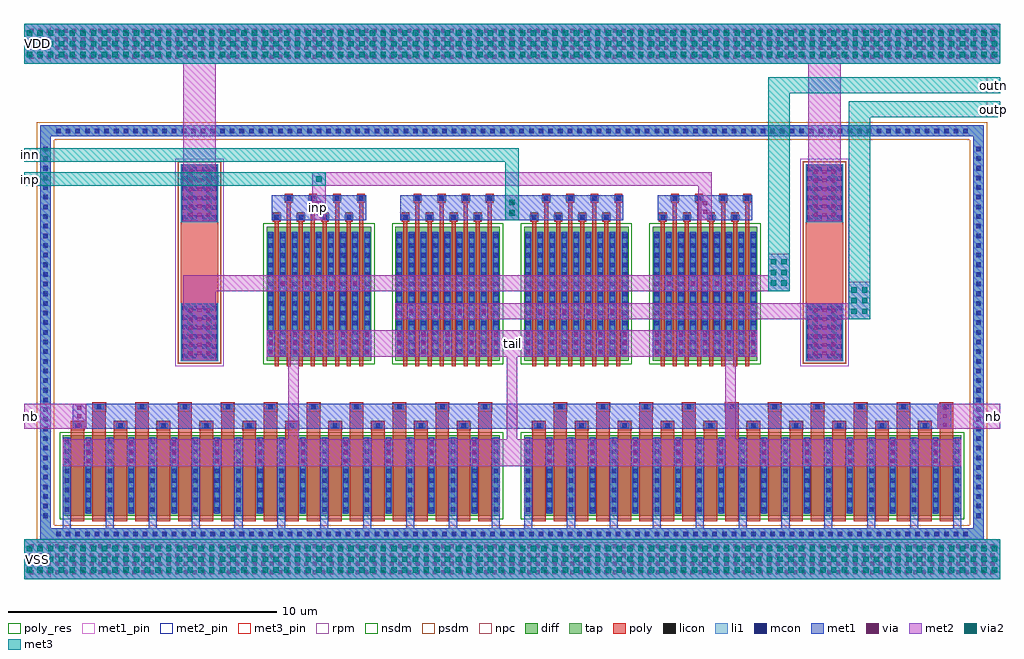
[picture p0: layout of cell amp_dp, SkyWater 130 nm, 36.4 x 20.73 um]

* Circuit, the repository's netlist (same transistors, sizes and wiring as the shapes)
* amp_dp: xschem/amp_dp.sch with {'w': 80, 'l': 0.15, 'rl': 1000.0, 'wt': 6, 'mt': 20, 'mm': 0} (lay.write_ref)
** sch_path: /foss/designs/ook/xschem/amp_dp.sch
.subckt amp_dp inp inn nb outp outn VDD VSS
*.PININFO VDD:B VSS:B nb:B inp:B inn:B outp:B outn:B
XRl_p outn VDD VSS sky130_fd_pr__res_high_po_1p41 L=3.13504 mult=1
XMp outn inp tail VSS sky130_fd_pr__nfet_01v8 L=0.15 W=80 nf=4
XRl_n outp VDD VSS sky130_fd_pr__res_high_po_1p41 L=3.13504 mult=1
XMn outp inn tail VSS sky130_fd_pr__nfet_01v8 L=0.15 W=80 nf=4
XMtail tail nb VSS VSS sky130_fd_pr__nfet_01v8 L=0.5 W=6 nf=2 m=20
.ends

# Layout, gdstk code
import gdstk
lib = gdstk.Library(unit=1e-6, precision=1e-09)
def R(c, l, rs):  # rectangles x0, y0, x1, y1
    for r in rs: c.add(gdstk.rectangle(r[:2], r[2:], *l))
def A(c, l, x, y, w, h, nx, ny, dx, dy):  # array of equal rectangles
    R(c, l, [(x+i*dx, y+j*dy, x+i*dx+w, y+j*dy+h) for i in range(nx) for j in range(ny)])
def P(c, l, *ps):  # polygons
    for p in ps: c.add(gdstk.Polygon(p, *l))
diff = (65, 20)
tap = (65, 44)
poly_res = (66, 13)
poly = (66, 20)
licon = (66, 44)
li1 = (67, 20)
mcon = (67, 44)
met1_pin = (68, 16)
met1 = (68, 20)
via = (68, 44)
met2_pin = (69, 16)
met2 = (69, 20)
via2 = (69, 44)
met3_pin = (70, 16)
met3 = (70, 20)
rpm = (86, 20)
nsdm = (93, 44)
psdm = (94, 20)
npc = (95, 20)

nfet = lib.new_cell('nfet')
R(nfet, diff, [(0,0,16.3,3)])
A(nfet, poly, 0.3, -0.2, 0.5, 3.4, 10, 1, 1.6, 0)
A(nfet, poly, 1.1, -0.2, 0.5, 4.1, 10, 1, 1.6, 0)
A(nfet, poly, 0.3, 3.2, 0.5, 0.33, 10, 1, 1.6, 0)
A(nfet, poly, 1.1, 3.9, 0.5, 0.33, 10, 1, 1.6, 0)
A(nfet, licon, 0.065, 0.155, 0.17, 0.17, 21, 8, 0.8, 0.36)
A(nfet, licon, 0.465, 3.28, 0.17, 0.17, 10, 1, 1.6, 0)
A(nfet, licon, 1.265, 3.98, 0.17, 0.17, 10, 1, 1.6, 0)
A(nfet, li1, 0.065, 0.075, 0.17, 2.85, 21, 1, 0.8, 0)
A(nfet, li1, 0.385, 3.28, 0.33, 0.17, 10, 1, 1.6, 0)
A(nfet, li1, 1.185, 3.98, 0.33, 0.17, 10, 1, 1.6, 0)
A(nfet, mcon, 0.065, 0.155, 0.17, 0.17, 21, 8, 0.8, 0.36)
A(nfet, mcon, 0.465, 3.28, 0.17, 0.17, 10, 1, 1.6, 0)
A(nfet, mcon, 1.265, 3.98, 0.17, 0.17, 10, 1, 1.6, 0)
A(nfet, met1, 0.035, 0.095, 0.23, 2.81, 21, 1, 0.8, 0)
A(nfet, met1, 0.365, 3.25, 0.37, 0.23, 10, 1, 1.6, 0)
A(nfet, met1, 1.165, 3.95, 0.37, 0.23, 10, 1, 1.6, 0)
R(nfet, nsdm, [(-0.125,-0.125,16.425,3.125)])
A(nfet, npc, 0.29, 3.19, 0.52, 0.35, 10, 1, 1.6, 0)
A(nfet, npc, 1.09, 3.89, 0.52, 0.35, 10, 1, 1.6, 0)

nfet_1 = lib.new_cell('nfet$1')
R(nfet_1, diff, [(0,0,3.9,5)])
A(nfet_1, poly, 0.3, -0.2, 0.15, 5.4, 3, 1, 0.9, 0)
A(nfet_1, poly, 0.75, -0.2, 0.15, 6.1, 3, 1, 0.9, 0)
A(nfet_1, poly, 0.24, 5.2, 0.27, 0.33, 3, 1, 0.9, 0)
A(nfet_1, poly, 0.69, 5.9, 0.27, 0.33, 3, 1, 0.9, 0)
R(nfet_1, poly, [(2.995,-0.2,3.145,5.2), (3.445,-0.2,3.595,5.9), (2.935,5.2,3.205,5.53), (3.385,5.9,3.655,6.23)])
A(nfet_1, licon, 0.065, 0.255, 0.17, 0.17, 4, 13, 0.45, 0.36)
A(nfet_1, licon, 1.86, 0.255, 0.17, 0.17, 4, 13, 0.45, 0.36)
A(nfet_1, licon, 3.665, 0.255, 0.17, 0.17, 1, 13, 0, 0.36)
A(nfet_1, licon, 0.29, 5.28, 0.17, 0.17, 3, 1, 0.9, 0)
A(nfet_1, licon, 0.74, 5.98, 0.17, 0.17, 3, 1, 0.9, 0)
R(nfet_1, licon, [(2.985,5.28,3.155,5.45), (3.435,5.98,3.605,6.15)])
A(nfet_1, li1, 0.065, 0.175, 0.17, 4.65, 4, 1, 0.45, 0)
A(nfet_1, li1, 1.86, 0.175, 0.17, 4.65, 4, 1, 0.45, 0)
A(nfet_1, li1, 0.21, 5.28, 0.33, 0.17, 3, 1, 0.9, 0)
A(nfet_1, li1, 0.66, 5.98, 0.33, 0.17, 3, 1, 0.9, 0)
R(nfet_1, li1, [(3.665,0.175,3.835,4.825), (2.905,5.28,3.235,5.45), (3.355,5.98,3.685,6.15)])
A(nfet_1, mcon, 0.065, 0.255, 0.17, 0.17, 4, 13, 0.45, 0.36)
A(nfet_1, mcon, 1.86, 0.255, 0.17, 0.17, 4, 13, 0.45, 0.36)
A(nfet_1, mcon, 3.665, 0.255, 0.17, 0.17, 1, 13, 0, 0.36)
A(nfet_1, mcon, 0.29, 5.28, 0.17, 0.17, 3, 1, 0.9, 0)
A(nfet_1, mcon, 0.74, 5.98, 0.17, 0.17, 3, 1, 0.9, 0)
R(nfet_1, mcon, [(2.985,5.28,3.155,5.45), (3.435,5.98,3.605,6.15)])
A(nfet_1, met1, 0.035, 0.195, 0.23, 4.61, 4, 1, 0.45, 0)
A(nfet_1, met1, 1.83, 0.195, 0.23, 4.61, 4, 1, 0.45, 0)
A(nfet_1, met1, 1.09, 5.25, 0.365, 0.23, 3, 1, 0.9, 0)
A(nfet_1, met1, 1.54, 5.95, 0.365, 0.23, 3, 1, 0.9, 0)
R(nfet_1, met1, [(3.635,0.195,3.865,4.805), (0.19,5.25,0.56,5.48), (0.64,5.95,1.01,6.18)])
R(nfet_1, nsdm, [(-0.125,-0.125,4.025,5.125)])
A(nfet_1, npc, 0.23, 5.19, 0.29, 0.35, 3, 1, 0.9, 0)
A(nfet_1, npc, 0.68, 5.89, 0.29, 0.35, 3, 1, 0.9, 0)
R(nfet_1, npc, [(2.925,5.19,3.215,5.54), (3.375,5.89,3.665,6.24)])

res_poly = lib.new_cell('res_poly')
R(res_poly, poly_res, [(-0.705,-1.57,0.705,1.57)])
R(res_poly, poly, [(-0.705,-3.67,0.705,3.67)])
R(res_poly, licon, [(-0.45,-3.59,-0.26,-1.59), (0.26,-3.59,0.45,-1.59), (-0.45,1.59,-0.26,3.59), (0.26,1.59,0.45,3.59)])
R(res_poly, li1, [(-0.705,-3.67,0.705,-1.51), (-0.705,1.51,0.705,3.67)])
A(res_poly, mcon, -0.625, -3.57, 0.17, 0.17, 4, 6, 0.36, 0.36)
A(res_poly, mcon, -0.625, 1.605, 0.17, 0.17, 4, 6, 0.36, 0.36)
R(res_poly, met1, [(-0.655,-3.635,0.655,-1.535), (-0.655,1.535,0.655,3.635)])
R(res_poly, rpm, [(-0.905,-3.865,0.905,3.865)])
R(res_poly, psdm, [(-0.815,-3.78,0.815,3.78)])
R(res_poly, npc, [(-0.8,-3.76,0.8,3.76)])

amp_dp = lib.new_cell('amp_dp')
P(amp_dp, tap, [(0.6,1.5),(0.6,16.53),(1,16.53),(1,1.9),(35.4,1.9),(35.4,16.53),(0.6,16.53),(0.6,16.93),(35.8,16.93),(35.8,1.5)])
A(amp_dp, licon, 1.195, 1.615, 0.17, 0.17, 95, 2, 0.36, 15.03)
A(amp_dp, licon, 0.715, 2.29, 0.17, 0.17, 1, 39, 0, 0.36)
A(amp_dp, licon, 35.515, 2.29, 0.17, 0.17, 1, 39, 0, 0.36)
P(amp_dp, li1, [(0.6,1.5),(0.6,16.53),(1,16.53),(1,1.9),(35.4,1.9),(35.4,16.53),(0.6,16.53),(0.6,16.93),(35.8,16.93),(35.8,1.5)])
A(amp_dp, mcon, 1.195, 1.615, 0.17, 0.17, 95, 2, 0.36, 15.03)
A(amp_dp, mcon, 0.715, 2.29, 0.17, 0.17, 1, 39, 0, 0.36)
A(amp_dp, mcon, 35.515, 2.29, 0.17, 0.17, 1, 39, 0, 0.36)
R(amp_dp, met1_pin, [(0,0,1,1.5), (0,19.23,1,20.73)])
A(amp_dp, met1, 1.45, 1.89, 0.3, 3.385, 11, 1, 1.6, 0)
A(amp_dp, met1, 18.65, 1.89, 0.3, 3.385, 11, 1, 1.6, 0)
A(amp_dp, met1, 2.25, 4.22, 0.3, 1, 10, 1, 1.6, 0)
A(amp_dp, met1, 19.45, 4.22, 0.3, 1, 10, 1, 1.6, 0)
R(amp_dp, met1, [(0,0,36.4,1.5), (0.6,1.49,35.8,1.9), (1.815,5.62,34.585,6.55), (5.945,8.18,7.145,10.28), (29.255,8.18,30.455,10.28), (9.05,8.3,9.35,9.3), (9.95,8.3,10.25,9.3), (10.845,8.3,11.145,9.3), (11.745,8.3,12.045,9.3), (12.65,8.3,12.95,9.3), (13.85,8.3,14.15,9.3), (14.75,8.3,15.05,9.3), (15.645,8.3,15.945,9.3), (16.545,8.3,16.845,9.3), (17.45,8.3,17.75,9.3), (18.65,8.3,18.95,9.3), (19.55,8.3,19.85,9.3), (20.445,8.3,20.745,9.3), (21.345,8.3,21.645,9.3), (22.25,8.3,22.55,9.3), (23.45,8.3,23.75,9.3), (24.35,8.3,24.65,9.3), (25.245,8.3,25.545,9.3), (26.145,8.3,26.445,9.3), (27.05,8.3,27.35,9.3), (14.3,9.7,14.6,10.3), (15.2,9.7,15.5,10.3), (16.095,9.7,16.395,10.3), (16.995,9.7,17.295,10.3), (19.1,9.7,19.4,10.3), (20,9.7,20.3,10.3), (20.895,9.7,21.195,10.3), (21.795,9.7,22.095,10.3), (9.5,10.75,9.8,11.35), (10.4,10.75,10.7,11.35), (11.295,10.75,11.595,11.35), (12.195,10.75,12.495,11.35), (23.9,10.75,24.2,11.35), (24.8,10.75,25.1,11.35), (25.695,10.75,25.995,11.35), (26.595,10.75,26.895,11.35), (5.945,13.35,7.145,15.45), (29.255,13.35,30.455,15.45), (9.24,13.4,12.755,14.33), (14.04,13.4,22.355,14.33), (23.64,13.4,27.155,14.33), (0,19.23,36.4,20.73)])
P(amp_dp, met1, [(0.6,1.5),(0.6,16.53),(1,16.53),(1,1.9),(35.4,1.9),(35.4,16.53),(0.6,16.53),(0.6,16.93),(35.8,16.93),(35.8,1.5)])
A(amp_dp, via, 0.205, 0.195, 0.15, 0.15, 113, 4, 0.32, 0.32)
A(amp_dp, via, 2.325, 4.325, 0.15, 0.15, 10, 3, 1.6, 0.32)
A(amp_dp, via, 19.525, 4.325, 0.15, 0.15, 10, 3, 1.6, 0.32)
A(amp_dp, via, 1.99, 5.69, 0.15, 0.15, 1, 3, 0, 0.32)
A(amp_dp, via, 34.26, 5.69, 0.15, 0.15, 1, 3, 0, 0.32)
A(amp_dp, via, 6.15, 8.355, 0.15, 0.15, 3, 6, 0.32, 0.32)
A(amp_dp, via, 29.46, 8.355, 0.15, 0.15, 3, 6, 0.32, 0.32)
A(amp_dp, via, 9.125, 8.405, 0.15, 0.15, 1, 3, 0, 0.32)
A(amp_dp, via, 10.025, 8.405, 0.15, 0.15, 1, 3, 0, 0.32)
A(amp_dp, via, 10.92, 8.405, 0.15, 0.15, 1, 3, 0, 0.32)
A(amp_dp, via, 11.82, 8.405, 0.15, 0.15, 1, 3, 0, 0.32)
A(amp_dp, via, 12.725, 8.405, 0.15, 0.15, 1, 3, 0, 0.32)
A(amp_dp, via, 13.925, 8.405, 0.15, 0.15, 1, 3, 0, 0.32)
A(amp_dp, via, 14.825, 8.405, 0.15, 0.15, 1, 3, 0, 0.32)
A(amp_dp, via, 15.72, 8.405, 0.15, 0.15, 1, 3, 0, 0.32)
A(amp_dp, via, 16.62, 8.405, 0.15, 0.15, 1, 3, 0, 0.32)
A(amp_dp, via, 17.525, 8.405, 0.15, 0.15, 1, 3, 0, 0.32)
A(amp_dp, via, 18.725, 8.405, 0.15, 0.15, 1, 3, 0, 0.32)
A(amp_dp, via, 19.625, 8.405, 0.15, 0.15, 1, 3, 0, 0.32)
A(amp_dp, via, 20.52, 8.405, 0.15, 0.15, 1, 3, 0, 0.32)
A(amp_dp, via, 21.42, 8.405, 0.15, 0.15, 1, 3, 0, 0.32)
A(amp_dp, via, 22.325, 8.405, 0.15, 0.15, 1, 3, 0, 0.32)
A(amp_dp, via, 23.525, 8.405, 0.15, 0.15, 1, 3, 0, 0.32)
A(amp_dp, via, 24.425, 8.405, 0.15, 0.15, 1, 3, 0, 0.32)
A(amp_dp, via, 25.32, 8.405, 0.15, 0.15, 1, 3, 0, 0.32)
A(amp_dp, via, 26.22, 8.405, 0.15, 0.15, 1, 3, 0, 0.32)
A(amp_dp, via, 27.125, 8.405, 0.15, 0.15, 1, 3, 0, 0.32)
A(amp_dp, via, 6.15, 13.525, 0.15, 0.15, 3, 6, 0.32, 0.32)
A(amp_dp, via, 29.46, 13.525, 0.15, 0.15, 3, 6, 0.32, 0.32)
A(amp_dp, via, 0.205, 19.425, 0.15, 0.15, 113, 4, 0.32, 0.32)
R(amp_dp, via, [(14.375,9.925,14.525,10.075), (15.275,9.925,15.425,10.075), (16.17,9.925,16.32,10.075), (17.07,9.925,17.22,10.075), (19.175,9.925,19.325,10.075), (20.075,9.925,20.225,10.075), (20.97,9.925,21.12,10.075), (21.87,9.925,22.02,10.075), (9.575,10.975,9.725,11.125), (10.475,10.975,10.625,11.125), (11.37,10.975,11.52,11.125), (12.27,10.975,12.42,11.125), (23.975,10.975,24.125,11.125), (24.875,10.975,25.025,11.125), (25.77,10.975,25.92,11.125), (26.67,10.975,26.82,11.125), (10.925,13.63,11.075,13.78), (18.12,13.63,18.27,13.78), (25.325,13.63,25.475,13.78), (10.925,13.95,11.075,14.1), (18.12,13.95,18.27,14.1), (25.325,13.95,25.475,14.1)])
R(amp_dp, met2_pin, [(0,5.62,0.5,6.55), (35.9,5.62,36.4,6.55)])
A(amp_dp, met2, 9.85, 4.22, 0.4, 5.08, 3, 1, 8.15, 0)
R(amp_dp, met2, [(0,0,36.4,1.5), (1.45,4.22,34.95,5.22), (0,5.62,2.315,6.55), (34.085,5.62,36.4,6.55), (5.945,8.18,7.145,11.35), (29.255,8.18,30.455,10.3), (9.05,8.3,27.35,9.3), (13.85,9.7,30.455,10.3), (29.255,9.7,31.555,10.3), (30.755,9.7,31.555,11.1), (5.945,10.75,27.35,11.35), (27.35,10.75,28.55,11.35), (27.75,10.75,28.55,12.15), (5.945,13.35,7.145,19.24), (29.255,13.35,30.455,19.24), (10.75,13.4,11.25,15.18), (17.945,13.4,18.445,14.33), (25.15,13.4,25.65,15.18), (10.75,14.68,25.65,15.18), (0,19.23,36.4,20.73)])
A(amp_dp, via2, 0.1, 0.25, 0.2, 0.2, 91, 3, 0.4, 0.4)
A(amp_dp, via2, 30.855, 9.9, 0.2, 0.2, 1, 3, 0, 0.4)
A(amp_dp, via2, 31.255, 9.9, 0.2, 0.2, 1, 3, 0, 0.4)
A(amp_dp, via2, 27.85, 10.95, 0.2, 0.2, 1, 3, 0, 0.4)
A(amp_dp, via2, 28.25, 10.95, 0.2, 0.2, 1, 3, 0, 0.4)
A(amp_dp, via2, 0.1, 19.48, 0.2, 0.2, 91, 3, 0.4, 0.4)
R(amp_dp, via2, [(18.095,13.565,18.295,13.765), (18.095,13.965,18.295,14.165), (10.9,14.83,11.1,15.03)])
R(amp_dp, met3_pin, [(0,14.68,0.5,15.18), (0,15.58,0.5,16.08), (35.9,17.23,36.4,17.83), (35.9,18.13,36.4,18.73)])
R(amp_dp, met3, [(0,0,36.4,1.5), (30.755,9.7,31.555,17.83), (27.75,10.75,28.55,18.73), (17.945,13.4,18.445,16.08), (0,14.68,11.25,15.18), (0,15.58,18.445,16.08), (30.755,17.23,36.4,17.83), (27.75,18.13,36.4,18.73), (0,19.23,36.4,20.73)])
P(amp_dp, psdm, [(0.475,1.375),(0.475,16.405),(1.125,16.405),(1.125,2.025),(35.275,2.025),(35.275,16.405),(0.475,16.405),(0.475,17.055),(35.925,17.055),(35.925,1.375)])
amp_dp.add(gdstk.Reference(nfet, (1.45,2.37)))
amp_dp.add(gdstk.Reference(nfet, (18.65,2.37)))
amp_dp.add(gdstk.Reference(nfet_1, (9.05,8.15)))
amp_dp.add(gdstk.Reference(nfet_1, (13.85,8.15)))
amp_dp.add(gdstk.Reference(nfet_1, (18.65,8.15)))
amp_dp.add(gdstk.Reference(nfet_1, (23.45,8.15)))
amp_dp.add(gdstk.Reference(res_poly, (6.545,11.815)))
amp_dp.add(gdstk.Reference(res_poly, (29.855,11.815)))
amp_dp.add(gdstk.Label('VSS', (0.5,0.75), layer=68, texttype=5))
amp_dp.add(gdstk.Label('VDD', (0.5,19.98), layer=68, texttype=5))
amp_dp.add(gdstk.Label('inp', (10.998,13.865), layer=68, texttype=5))
amp_dp.add(gdstk.Label('nb', (0.25,6.085), layer=69, texttype=5))
amp_dp.add(gdstk.Label('nb', (36.15,6.085), layer=69, texttype=5))
amp_dp.add(gdstk.Label('tail', (18.2,8.8), layer=69, texttype=5))
amp_dp.add(gdstk.Label('outn', (36.15,18.43), layer=70, texttype=5))
amp_dp.add(gdstk.Label('outp', (36.15,17.53), layer=70, texttype=5))
amp_dp.add(gdstk.Label('inp', (0.25,14.93), layer=70, texttype=5))
amp_dp.add(gdstk.Label('inn', (0.25,15.83), layer=70, texttype=5))

lib.write_gds('amp_dp.gds')
